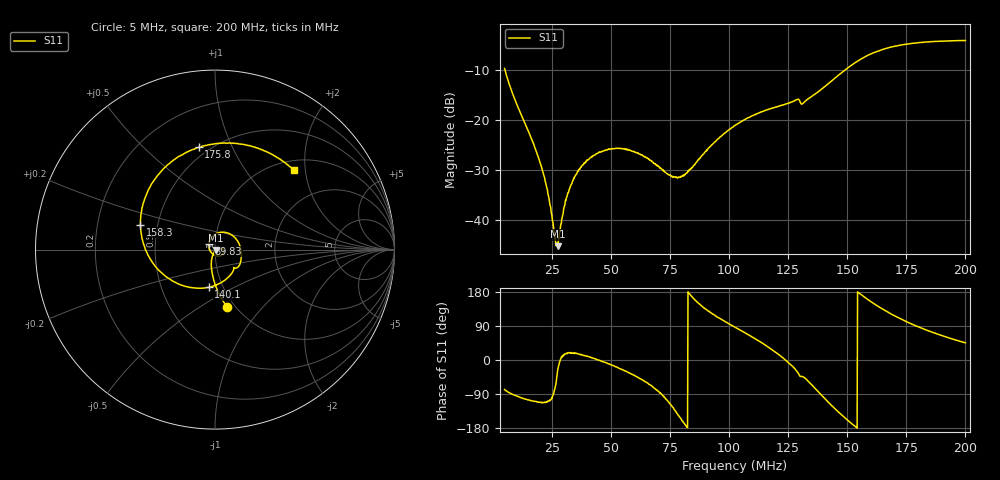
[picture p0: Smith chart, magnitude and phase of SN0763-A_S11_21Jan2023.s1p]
# Hz S DB R 50
! CMT, M5045, 22160017, 22.4.3/2
! Date: 1/21/2023 20:37:28
! Data: Format (Calibration Info)
! Freq	S11:dB/Ang(F1)
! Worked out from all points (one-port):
!   1001 points, 5 MHz to 200 MHz, reference 50 ohm
!   lowest |S11| = -45.2 dB at 27.62 MHz (marker M1), VSWR 1.01, Z = 50.5 - j0.206 ohm
!   |S11| at or under -10 dB: 5.169 MHz to 149.1 MHz (143.9 MHz wide, 187 % of centre)
!   S11 on the Smith chart (normalised r, x): 5 MHz: 0.92, -0.66; 89.83 MHz: 0.93, +0.06; 140.1 MHz: 0.85, -0.38; 158.3 MHz: 0.40, +0.14; 175.8 MHz: 0.44, +0.75; 200 MHz: 1.20, +1.73
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5000000  -9.69 -78.0
1.0655e7  -17.46 -96.5
1.982e7  -28.32 -111.4
2.294e7  -33.68 -111.2
2.6645e7  -45.09 -65.6
2.762e7  -45.22 -21.8
2.9375e7  -39.46 7.9
3.2495e7  -33.71 19.4
3.7565e7  -29.20 14.4
4.4585e7  -26.59 0.0
5.375e7  -25.67 -22.9
6.233e7  -26.80 -49.0
7.8125e7  -31.54 -142.4
8.1635e7  -30.78 -172.6
8.9825e7  -26.40 135.2
1.025e8  -21.10 86.4
1.1537e8  -18.07 39.1
1.26875e8  -16.33 -16.9
1.3136e8  -16.62 -44.4
1.40135e8  -13.43 -99.6
1.45595e8  -11.31 -133.3
1.5125e8  -9.21 -164.6
1.5827e8  -7.17 161.5
1.67435e8  -5.55 125.3
1.75625e8  -4.79 99.4
1.7582e8  -4.78 99.1
1.8635e8  -4.31 72.5
2e8  -4.12 45.3
